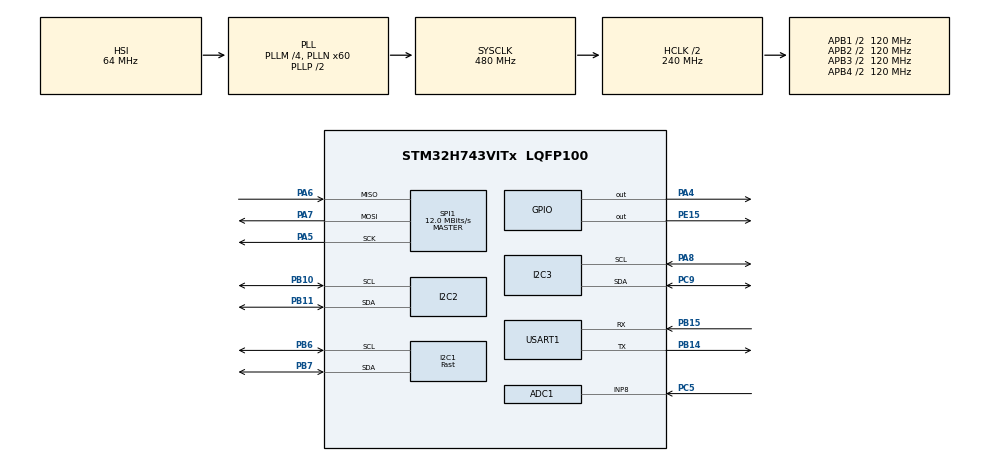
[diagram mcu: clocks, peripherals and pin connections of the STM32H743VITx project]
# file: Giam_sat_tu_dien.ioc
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ADC1.Channel-3\#ChannelRegularConversion=ADC_CHANNEL_8
ADC1.ContinuousConvMode=ENABLE
ADC1.ConversionDataManagement=ADC_CONVERSIONDATA_DMA_CIRCULAR
ADC1.NbrOfConversion=1
ADC1.NbrOfConversionFlag=1
ADC1.OffsetNumber-3\#ChannelRegularConversion=ADC_OFFSET_NONE
ADC1.OffsetSignedSaturation-3\#ChannelRegularConversion=DISABLE
ADC1.Rank-3\#ChannelRegularConversion=1
ADC1.SamplingTime-3\#ChannelRegularConversion=ADC_SAMPLETIME_1CYCLE_5
ADC1.master=1
CORTEX_M7.default_mode_Activation=1
Dma.ADC1.0.Direction=DMA_PERIPH_TO_MEMORY
Dma.ADC1.0.EventEnable=DISABLE
Dma.ADC1.0.FIFOMode=DMA_FIFOMODE_DISABLE
Dma.ADC1.0.Instance=DMA1_Stream0
Dma.ADC1.0.MemDataAlignment=DMA_MDATAALIGN_HALFWORD
Dma.ADC1.0.MemInc=DMA_MINC_ENABLE
Dma.ADC1.0.Mode=DMA_NORMAL
Dma.ADC1.0.PeriphDataAlignment=DMA_PDATAALIGN_HALFWORD
Dma.ADC1.0.PeriphInc=DMA_PINC_DISABLE
Dma.ADC1.0.Polarity=HAL_DMAMUX_REQ_GEN_RISING
Dma.ADC1.0.Priority=DMA_PRIORITY_LOW
Dma.ADC1.0.RequestNumber=1
Dma.ADC1.0.SignalID=NONE
Dma.ADC1.0.SyncEnable=DISABLE
Dma.ADC1.0.SyncPolarity=HAL_DMAMUX_SYNC_NO_EVENT
Dma.ADC1.0.SyncRequestNumber=1
Dma.ADC1.0.SyncSignalID=NONE
Dma.Request0=ADC1
I2C1.I2C_Speed_Mode=I2C_Fast
I2C1.Timing=0x00B03FDB
I2C2.Timing=0x307075B1
I2C3.Timing=0x307075B1
Mcu.Family=STM32H7
Mcu.Name=STM32H743VITx
Mcu.Package=LQFP100
NVIC.DMA1_Stream0_IRQn=true\:0\:0\:false\:false\:true\:false\:true\:true
NVIC.PriorityGroup=NVIC_PRIORITYGROUP_4
PA13\ (JTMS/SWDIO).Mode=Serial_Wire
PA13\ (JTMS/SWDIO).Signal=DEBUG_JTMS-SWDIO
PA14\ (JTCK/SWCLK).Mode=Serial_Wire
PA14\ (JTCK/SWCLK).Signal=DEBUG_JTCK-SWCLK
PA4.Signal=GPIO_Output
PA5.Mode=Full_Duplex_Master
PA5.Signal=SPI1_SCK
PA6.Mode=Full_Duplex_Master
PA6.Signal=SPI1_MISO
PA7.Mode=Full_Duplex_Master
PA7.Signal=SPI1_MOSI
PA8.Mode=I2C
PA8.Signal=I2C3_SCL
PB10.Mode=I2C
PB10.Signal=I2C2_SCL
PB11.Mode=I2C
PB11.Signal=I2C2_SDA
PB14.Mode=Asynchronous
PB14.Signal=USART1_TX
PB15.Mode=Asynchronous
PB15.Signal=USART1_RX
PB6.Mode=I2C
PB6.Signal=I2C1_SCL
PB7.Mode=I2C
PB7.Signal=I2C1_SDA
PC5.Signal=ADCx_INP8
PC9.Mode=I2C
PC9.Signal=I2C3_SDA
PE15.Signal=GPIO_Output
PH0-OSC_IN\ (PH0).Mode=HSE-External-Oscillator
PH0-OSC_IN\ (PH0).Signal=RCC_OSC_IN
PH1-OSC_OUT\ (PH1).Mode=HSE-External-Oscillator
PH1-OSC_OUT\ (PH1).Signal=RCC_OSC_OUT
ProjectManager.HeapSize=0x200
ProjectManager.StackSize=0x400
ProjectManager.TargetToolchain=STM32CubeIDE
RCC.ADCFreq_Value=80000000
RCC.APB1Freq_Value=120000000
RCC.APB2Freq_Value=120000000
RCC.APB3Freq_Value=120000000
RCC.APB4Freq_Value=120000000
RCC.CortexFreq_Value=480000000
RCC.D1PPRE=RCC_APB3_DIV2
RCC.D2PPRE1=RCC_APB1_DIV2
RCC.D2PPRE2=RCC_APB2_DIV2
RCC.D3PPRE=RCC_APB4_DIV2
RCC.DIVM1=4
RCC.DIVM2=4
RCC.DIVN1=60
RCC.DIVN2=10
RCC.DIVQ1=5
RCC.HCLKFreq_Value=240000000
RCC.HPRE=RCC_HCLK_DIV2
RCC.PLL2FRACN=0
RCC.PLL3FRACN=0
RCC.PLLFRACN=0
RCC.SYSCLKFreq_VALUE=480000000
RCC.SYSCLKSource=RCC_SYSCLKSOURCE_PLLCLK
RCC.USBFreq_Value=192000000
SH.ADCx_INP8.0=ADC1_INP8,IN8-Single-Ended
SPI1.BaudRatePrescaler=SPI_BAUDRATEPRESCALER_16
SPI1.CalculateBaudRate=12.0 MBits/s
SPI1.DataSize=SPI_DATASIZE_8BIT
SPI1.Direction=SPI_DIRECTION_2LINES
SPI1.Mode=SPI_MODE_MASTER
SPI1.VirtualType=VM_MASTER
USART1.VirtualMode-Asynchronous=VM_ASYNC
VP_MEMORYMAP_VS_MEMORYMAP.Mode=CurAppReg
board=custom

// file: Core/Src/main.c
/* USER CODE BEGIN Header */
/**
  ******************************************************************************
  * @file           : main.c
  * @brief          : Main program body
  ******************************************************************************
  * @attention
  *
  * Copyright (c) 2026 STMicroelectronics.
  * All rights reserved.
  *
  * This software is licensed under terms that can be found in the LICENSE file
  * in the root directory of this software component.
  * If no LICENSE file comes with this software, it is provided AS-IS.
  *
  ******************************************************************************
  */
/* USER CODE END Header */
#include "main.h"

/* USER CODE BEGIN Includes */
#include "sensors/SHT30.h"
#include "sensors/MLX90640/MLX90640_API.h"
#include "sensors/MLX90640/MLX90640_I2C_Driver.h"
#include "OLED/fonts.h"
#include "OLED/SH1106.h"
#include "Ethernet/W5500_MQTT.h"
#include "MQTTClient.h"
#include "arm_math.h"
#include "stdlib.h"
/* USER CODE END Includes */

/* USER CODE BEGIN PD */
#define MLX90640_ADDR 0x33
#define BUFFER_SIZE 1024
#define FFT_SAMPLES 512 // Bằng đúng một nửa BUFFER_SIZE (do dùng Half-Transfer)

#define SHT30_SOCKET 		0
#define MLX90640_SOCKET   	1
#define SHT30_TOKEN   		"SHT30"
#define MLX90640_TOKEN   	"MLX90640"
/* USER CODE END PD */

ADC_HandleTypeDef hadc1;
DMA_HandleTypeDef hdma_adc1;

I2C_HandleTypeDef hi2c1;
I2C_HandleTypeDef hi2c2;
I2C_HandleTypeDef hi2c3;

SPI_HandleTypeDef hspi1;

UART_HandleTypeDef huart1;

/* USER CODE BEGIN PV */
uint8_t dp = 0;

uint16_t eeMLX90640[832];       // Mảng chứa dữ liệu EEPROM
uint16_t frame[834];            // Mảng chứa dữ liệu thô của 1 khung hình
float MLX90640To[768];          // Mảng chứa nhiệt độ (độ C) của 32x24 pixels
paramsMLX90640 mlx90640Params;	// Chứa tham số calib
char txBuff[6000];

__attribute__((aligned(32))) uint16_t adc_buffer[BUFFER_SIZE];
float dc_offset = 2048.0f;
uint32_t spark_count = 0;

// ----- CÁC BIẾN CHO FFT -----
arm_rfft_fast_instance_f32 fft_handler; // Biến cấu hình bộ FFT
float32_t fft_input[FFT_SAMPLES];       // Mảng chứa tín hiệu âm thanh đầu vào (số thực)
float32_t fft_output[FFT_SAMPLES];      // Mảng chứa đầu ra của FFT (dạng số phức: thực/ảo xen kẽ)
float32_t fft_mag[FFT_SAMPLES / 2];     // Mảng chứa năng lượng (Magnitude) của 256 dải tần

volatile float32_t current_spark_energy = 0.0f; // Biến toàn cục để xem trên Live Expressions

Network network;
MQTTClient client;
uint8_t sendbuf[6000], readbuf[512];
uint8_t mac_addr[] = {0x00, 0x08, 0xdc, 0x11, 0x22, 0x33};

uint8_t broker_ip[4] = {0, 0, 0, 0};

Network net_sht30, net_mlx;
MQTTClient client_sht30, client_mlx;
// Buffer cho SHT30
unsigned char sendbuf_sht30[256], readbuf_sht30[256];
// Buffer cho MLX90640
unsigned char sendbuf_mlx[6500], readbuf_mlx[256];

uint8_t is_dns_resolved = 0;
uint8_t sht30_connected = 0;
uint8_t mlx_connected = 0;
/* USER CODE END PV */

void SystemClock_Config(void);
static void MPU_Config(void);
static void MX_GPIO_Init(void);
static void MX_DMA_Init(void);
static void MX_ADC1_Init(void);
static void MX_I2C1_Init(void);
static void MX_I2C2_Init(void);
static void MX_I2C3_Init(void);
static void MX_SPI1_Init(void);
static void MX_USART1_UART_Init(void);
/* USER CODE BEGIN PFP */
void MLX90640_Setup(void);
void MLX90640_Process(void);
void SHT30_Process(void);
/* USER CODE END PFP */

/* USER CODE BEGIN 0 */
uint8_t Connect_ThingsBoard(uint8_t sock_num, Network* net, MQTTClient* client, char* token, char* client_id)
{
    static uint16_t local_port = 30000;
    local_port++;
    if (local_port > 60000) local_port = 30000;

    disconnect(sock_num);
    close(sock_num);
    socket(sock_num, Sn_MR_TCP, local_port, 0);

    if (connect(sock_num, broker_ip, 1883) == SOCK_OK)
    {
        uint32_t tcp_timeout = HAL_GetTick();
        uint8_t tcp_ok = 0;
        // Đợi TCP Established
        while (HAL_GetTick() - tcp_timeout < 500)
        {
            if (getSn_SR(sock_num) == SOCK_ESTABLISHED) { tcp_ok = 1; break; }
            if (getSn_SR(sock_num) == SOCK_CLOSED) break;
            HAL_Delay(5);
        }

        if (tcp_ok == 1)
        {
            MQTTPacket_connectData data = MQTTPacket_connectData_initializer;
            data.MQTTVersion = 3;
            data.clientID.cstring = client_id;
            data.username.cstring = token;
            data.password.cstring = NULL;

            if (MQTTConnect(client, &data) == MQTT_SUCCESS)
            {
                return 1; // Kết nối thành công
            }
        }
    }
    close(sock_num);
    return 0; // Kết nối thất bại
}

void SHT30_Process(void)
{
	SH1106_GotoXY(10,5);
	SH1106_Puts("Moi truong:", &Font_11x18,1);

	SHT30_Read(&temperature, &humidity);
	SH1106_GotoXY(10, 25);
	SH1106_Puts("Nhiet do: ", &Font_7x10, 1);
	SH1106_GotoXY(77, 25);
	sprintf(bufftemp, "%.2f", temperature);
	SH1106_Puts(bufftemp, &Font_7x10, 1);
	SH1106_GotoXY(10, 35);
	SH1106_Puts("Do am: ", &Font_7x10, 1);
	sprintf(buffhumid, "%.2f", humidity);
	SH1106_GotoXY(59, 35);
	SH1106_Puts(buffhumid, &Font_7x10, 1);
	float dew_point = SHT30_CalcDewPoint(temperature, humidity);
	float safety_margin = 3.0f; // Ngưỡng an toàn 3 độ C

	// Nếu nhiệt độ vỏ tủ tiến quá gần đến mức tạo sương
	if (temperature <= (dew_point + safety_margin))
	{
		dp = 1;
		SH1106_GotoXY(10, 30);
		SH1106_Puts("Canh bao:", &Font_7x10, 1);
		SH1106_GotoXY(10, 45);
		SH1106_Puts("Gan dat nguong diem suong", &Font_7x10, 1);
		HAL_Delay(15000);
	}

	SH1106_UpdateScreen();

	if (sht30_connected == 1)
	{
		char json_payload[100];
		sprintf(json_payload, "{\"temperature\":%.2f, \"humidity\":%.2f, \"dp\":%d}", temperature, humidity, dp);

		MQTTMessage pub_msg;
		memset(&pub_msg, 0, sizeof(pub_msg));
		pub_msg.qos = QOS0;
		pub_msg.payload = json_payload;
		pub_msg.payloadlen = strlen(json_payload);

		MQTTPublish(&client_sht30, "v1/devices/me/telemetry", &pub_msg);
	}
}

void MLX90640_Setup(void)
{
    int status;
    char buffer[80];

    MLX90640_SetChessMode(MLX90640_ADDR);
    // Thiết lập tốc độ làm tươi (Refresh Rate). Ví dụ: 0x03 = 4Hz, 0x04 = 8Hz
    MLX90640_SetRefreshRate(MLX90640_ADDR, 0x04);

    // Đọc toàn bộ bộ nhớ EEPROM của cảm biến.
    // Thử lại vài lần: nếu lỗi -3..-6 lặp lại y hệt ở mọi lần đọc -> rất có thể
    // là dữ liệu hiệu chuẩn gốc của cảm biến, không phải do nhiễu I2C.
    int retry;
    for (retry = 0; retry < 3; retry++)
    {
        status = MLX90640_DumpEE(MLX90640_ADDR, eeMLX90640);
        if (status == 0) break;

        sprintf(buffer, "Loi doc EEPROM (lan %d/3): %d\r\n", retry + 1, status);
        HAL_UART_Transmit(&huart1, (uint8_t*)buffer, strlen(buffer), 50);
        HAL_Delay(10);
    }

    char debugMsg[100];
    sprintf(debugMsg, "EEPROM[0]=0x%04X | EEPROM[1]=0x%04X\r\n", eeMLX90640[0], eeMLX90640[1]);
    HAL_UART_Transmit(&huart1, (uint8_t*)debugMsg, strlen(debugMsg), 100);

    if (status != 0)
    {
        // -1/-2: lỗi I2C thật sự (NACK/timeout) -> không có dữ liệu hợp lệ, dừng hẳn
        // thay vì chạy tiếp với mảng eeMLX90640 rỗng/rác.
        sprintf(buffer, "Loi doc EEPROM sau 3 lan, dung lai!\r\n");
        HAL_UART_Transmit(&huart1, (uint8_t*)buffer, strlen(buffer), 50);
        while (1) { HAL_Delay(500); }
    }

    // Trích xuất các hệ số hiệu chuẩn vào struct
    status = MLX90640_ExtractParameters(eeMLX90640, &mlx90640Params);
    if (status != 0)
    {
        // -3 (>4 broken pixel), -4 (>4 outlier), -5 (tong > 4), -6 (2 pixel loi ke nhau):
        // đây chỉ là CẢNH BÁO về vài pixel trong EEPROM, các hệ số hiệu chuẩn khác
        // (Vdd, Ta, Gain, Offset, Alpha...) vẫn được tính đầy đủ phía trên hàm này.
        // KHÔNG dừng chương trình vì lỗi này - nếu dừng, sẽ không bao giờ có ảnh.
        sprintf(buffer, "Canh bao trich xuat (khong chan chuong trinh): %d\r\n", status);
        HAL_UART_Transmit(&huart1, (uint8_t*)buffer, strlen(buffer), 50);
    }
}

// Đọc khung hình và gửi qua UART
void MLX90640_Process(void)
{
    int subpage;
    float ta, tr, vdd;
    float emissivity = 0.95; // Hệ số phát xạ

    // Đọc dữ liệu thô từ cảm biến
    subpage = MLX90640_GetFrameData(MLX90640_ADDR, frame);
    // DEBUG TẠM THỜI: in subpage ở MỌI lần gọi (kể cả khi hợp lệ) để biết
    // vòng lặp có đang chạy hay bị "treo" bên trong MLX90640_GetFrameData().
    // Xóa khối này sau khi xác định được nguyên nhân.

        char dbg[32];
        int n = sprintf(dbg, "[Frame] subpage=%d\r\n", subpage);
        HAL_UART_Transmit(&huart1, (uint8_t*)dbg, n, 50);

    if (subpage < 0) {
        char errBuf[50];
        sprintf(errBuf, "Loi Frame: %d\r\n", subpage);
        HAL_UART_Transmit(&huart1, (uint8_t*)errBuf, strlen(errBuf), 100);
    }
    if (subpage >= 0)
    { // Đọc thành công
    	vdd = MLX90640_GetVdd(frame, &mlx90640Params);
    	ta = MLX90640_GetTa(frame, &mlx90640Params);
    	tr = ta - 8.0f;
        // Tính toán ra nhiệt độ tuyệt đối (To)
        MLX90640_CalculateTo(frame, &mlx90640Params, emissivity, tr, MLX90640To);

        if (subpage == 1)
        {
        	int offset = 0;
        	// ThingsBoard yêu cầu chuẩn JSON. Bạn nên bọc mảng của bạn lại như sau:
        	offset += sprintf(txBuff + offset, "{\"thermal_pixels\": \"\n");

        	for (int i = 0; i < 768; i++)
        	{
        		offset += sprintf(txBuff + offset, "%5.2f ", MLX90640To[i]);
        		if ((i + 1) % 32 == 0)
        		{
        			offset += sprintf(txBuff + offset, "\n");
        		}
        	}
        	offset += sprintf(txBuff + offset, "\"}"); // Đóng ngoặc JSON

        	HAL_UART_Transmit(&huart1, (uint8_t*)txBuff, offset, HAL_MAX_DELAY);

        	// Đẩy dữ liệu ảnh nhiệt lên mạng
        	if (mlx_connected == 1)
        	{
        		MQTTMessage pub_msg;
        		memset(&pub_msg, 0, sizeof(pub_msg));
        		pub_msg.qos = QOS0;
        		pub_msg.payload = txBuff;
        		pub_msg.payloadlen = offset;

        		MQTTPublish(&client_mlx, "v1/devices/me/telemetry", &pub_msg);
        	}
        }
    }
}
/* USER CODE END 0 */

int main(void)
{

  /* MPU Configuration--------------------------------------------------------*/
  MPU_Config();

  /* MCU Configuration--------------------------------------------------------*/

  /* Reset of all peripherals, Initializes the Flash interface and the Systick. */
  HAL_Init();

  /* Configure the system clock */
  SystemClock_Config();

  /* Initialize all configured peripherals */
  MX_GPIO_Init();
  MX_DMA_Init();
  MX_ADC1_Init();
  MX_I2C1_Init();
  MX_I2C2_Init();
  MX_I2C3_Init();
  MX_SPI1_Init();
  MX_USART1_UART_Init();
  /* USER CODE BEGIN 2 */
  HAL_Delay(10);
  SH1106_Init();
  SH1106_Clear();
  SH1106_UpdateScreen();

  uint32_t last_sht30_time = 0;
  uint32_t last_mlx_time = 0;
  uint32_t last_network_time = 0;
  uint32_t last_mqtt_ping_time = 0;

  W5500_Hardware_Init();

  uint32_t last_dhcp_log = 0; // tránh spam log DHCP quá nhanh

  W5500_DHCP_Init(mac_addr);
  NetworkInit(&net_sht30, SHT30_SOCKET);
  NetworkInit(&net_mlx, MLX90640_SOCKET);
  MQTTClientInit(&client_sht30, &net_sht30, 8000, sendbuf_sht30, sizeof(sendbuf_sht30), readbuf_sht30, sizeof(readbuf_sht30));
//  MLX90640_Setup();
  /* USER CODE END 2 */

  /* Infinite loop */
  /* USER CODE BEGIN WHILE */
  while (1)
  {
	  uint8_t has_ip = W5500_DHCP_Run();

	  if (HAL_GetTick() - last_sht30_time >= 1000)
	  {
		  last_sht30_time = HAL_GetTick();
		  SHT30_Process();
	  }

//	  if (HAL_GetTick() - last_mlx_time >= 10)
//	  {
//		  last_mlx_time = HAL_GetTick();
//		  MLX90640_Process();
//	  }

	  if (HAL_GetTick() - last_network_time >= 2000)
	  {
		  last_network_time = HAL_GetTick();

		  if (has_ip == 1) // Đã lấy được IP từ DHCP
		  {
			  if (is_dns_resolved == 0)
			  {
				  if (W5500_DNS_Resolve("eu.thingsboard.cloud", broker_ip) == 1)
				  {
					  is_dns_resolved = 1;
				  }
			  }

			  if (is_dns_resolved == 1 && sht30_connected == 0)
			  {
				  sht30_connected = Connect_ThingsBoard(SHT30_SOCKET, &net_sht30, &client_sht30, SHT30_TOKEN, "SHT30_Sensor");
			  }
		  }
		  else
		  {
			  is_dns_resolved = 0;
			  sht30_connected = 0;
		  }
	  }

	  if (sht30_connected == 1)
	  {
		  if (HAL_GetTick() - last_mqtt_ping_time >= 100)
		  {
			  last_mqtt_ping_time = HAL_GetTick();

			  // MQTTYield cần được gọi liên tục để duy trì mạng và nhận dữ liệu
			  if (MQTTYield(&client_sht30, 10) != MQTT_SUCCESS)
			  {
				  sht30_connected = 0; // Đánh dấu rớt mạng
			  }
		  }
	  }
    /* USER CODE END WHILE */

  }
}

void SystemClock_Config(void)
{
  RCC_OscInitTypeDef RCC_OscInitStruct = {0};
  RCC_ClkInitTypeDef RCC_ClkInitStruct = {0};

  /** Supply configuration update enable
  */
  HAL_PWREx_ConfigSupply(PWR_LDO_SUPPLY);

  /** Configure the main internal regulator output voltage
  */
  __HAL_PWR_VOLTAGESCALING_CONFIG(PWR_REGULATOR_VOLTAGE_SCALE0);

  while(!__HAL_PWR_GET_FLAG(PWR_FLAG_VOSRDY)) {}

  /** Initializes the RCC Oscillators according to the specified parameters
  * in the RCC_OscInitTypeDef structure.
  */
  RCC_OscInitStruct.OscillatorType = RCC_OSCILLATORTYPE_HSI;
  RCC_OscInitStruct.HSIState = RCC_HSI_DIV1;
  RCC_OscInitStruct.HSICalibrationValue = RCC_HSICALIBRATION_DEFAULT;
  RCC_OscInitStruct.PLL.PLLState = RCC_PLL_ON;
  RCC_OscInitStruct.PLL.PLLSource = RCC_PLLSOURCE_HSI;
  RCC_OscInitStruct.PLL.PLLM = 4;
  RCC_OscInitStruct.PLL.PLLN = 60;
  RCC_OscInitStruct.PLL.PLLP = 2;
  RCC_OscInitStruct.PLL.PLLQ = 5;
  RCC_OscInitStruct.PLL.PLLR = 2;
  RCC_OscInitStruct.PLL.PLLRGE = RCC_PLL1VCIRANGE_3;
  RCC_OscInitStruct.PLL.PLLVCOSEL = RCC_PLL1VCOWIDE;
  RCC_OscInitStruct.PLL.PLLFRACN = 0;
  if (HAL_RCC_OscConfig(&RCC_OscInitStruct) != HAL_OK)
  {
    Error_Handler();
  }

  /** Initializes the CPU, AHB and APB buses clocks
  */
  RCC_ClkInitStruct.ClockType = RCC_CLOCKTYPE_HCLK|RCC_CLOCKTYPE_SYSCLK
                              |RCC_CLOCKTYPE_PCLK1|RCC_CLOCKTYPE_PCLK2
                              |RCC_CLOCKTYPE_D3PCLK1|RCC_CLOCKTYPE_D1PCLK1;
  RCC_ClkInitStruct.SYSCLKSource = RCC_SYSCLKSOURCE_PLLCLK;
  RCC_ClkInitStruct.SYSCLKDivider = RCC_SYSCLK_DIV1;
  RCC_ClkInitStruct.AHBCLKDivider = RCC_HCLK_DIV2;
  RCC_ClkInitStruct.APB3CLKDivider = RCC_APB3_DIV2;
  RCC_ClkInitStruct.APB1CLKDivider = RCC_APB1_DIV2;
  RCC_ClkInitStruct.APB2CLKDivider = RCC_APB2_DIV2;
  RCC_ClkInitStruct.APB4CLKDivider = RCC_APB4_DIV2;

  if (HAL_RCC_ClockConfig(&RCC_ClkInitStruct, FLASH_LATENCY_4) != HAL_OK)
  {
    Error_Handler();
  }
}

static void MX_ADC1_Init(void)
{

  ADC_MultiModeTypeDef multimode = {0};
  ADC_ChannelConfTypeDef sConfig = {0};

  /** Common config
  */
  hadc1.Instance = ADC1;
  hadc1.Init.ClockPrescaler = ADC_CLOCK_ASYNC_DIV1;
  hadc1.Init.Resolution = ADC_RESOLUTION_16B;
  hadc1.Init.ScanConvMode = ADC_SCAN_DISABLE;
  hadc1.Init.EOCSelection = ADC_EOC_SINGLE_CONV;
  hadc1.Init.LowPowerAutoWait = DISABLE;
  hadc1.Init.ContinuousConvMode = ENABLE;
  hadc1.Init.NbrOfConversion = 1;
  hadc1.Init.DiscontinuousConvMode = DISABLE;
  hadc1.Init.ExternalTrigConv = ADC_SOFTWARE_START;
  hadc1.Init.ExternalTrigConvEdge = ADC_EXTERNALTRIGCONVEDGE_NONE;
  hadc1.Init.ConversionDataManagement = ADC_CONVERSIONDATA_DMA_CIRCULAR;
  hadc1.Init.Overrun = ADC_OVR_DATA_PRESERVED;
  hadc1.Init.LeftBitShift = ADC_LEFTBITSHIFT_NONE;
  hadc1.Init.OversamplingMode = DISABLE;
  hadc1.Init.Oversampling.Ratio = 1;
  if (HAL_ADC_Init(&hadc1) != HAL_OK)
  {
    Error_Handler();
  }

  /** Configure the ADC multi-mode
  */
  multimode.Mode = ADC_MODE_INDEPENDENT;
  if (HAL_ADCEx_MultiModeConfigChannel(&hadc1, &multimode) != HAL_OK)
  {
    Error_Handler();
  }

  /** Configure Regular Channel
  */
  sConfig.Channel = ADC_CHANNEL_8;
  sConfig.Rank = ADC_REGULAR_RANK_1;
  sConfig.SamplingTime = ADC_SAMPLETIME_1CYCLE_5;
  sConfig.SingleDiff = ADC_SINGLE_ENDED;
  sConfig.OffsetNumber = ADC_OFFSET_NONE;
  sConfig.Offset = 0;
  sConfig.OffsetSignedSaturation = DISABLE;
  if (HAL_ADC_ConfigChannel(&hadc1, &sConfig) != HAL_OK)
  {
    Error_Handler();
  }

}

static void MX_I2C1_Init(void)
{

  hi2c1.Instance = I2C1;
  hi2c1.Init.Timing = 0x00B03FDB;
  hi2c1.Init.OwnAddress1 = 0;
  hi2c1.Init.AddressingMode = I2C_ADDRESSINGMODE_7BIT;
  hi2c1.Init.DualAddressMode = I2C_DUALADDRESS_DISABLE;
  hi2c1.Init.OwnAddress2 = 0;
  hi2c1.Init.OwnAddress2Masks = I2C_OA2_NOMASK;
  hi2c1.Init.GeneralCallMode = I2C_GENERALCALL_DISABLE;
  hi2c1.Init.NoStretchMode = I2C_NOSTRETCH_DISABLE;
  if (HAL_I2C_Init(&hi2c1) != HAL_OK)
  {
    Error_Handler();
  }

  /** Configure Analogue filter
  */
  if (HAL_I2CEx_ConfigAnalogFilter(&hi2c1, I2C_ANALOGFILTER_ENABLE) != HAL_OK)
  {
    Error_Handler();
  }

  /** Configure Digital filter
  */
  if (HAL_I2CEx_ConfigDigitalFilter(&hi2c1, 0) != HAL_OK)
  {
    Error_Handler();
  }

}

static void MX_I2C2_Init(void)
{

  hi2c2.Instance = I2C2;
  hi2c2.Init.Timing = 0x307075B1;
  hi2c2.Init.OwnAddress1 = 0;
  hi2c2.Init.AddressingMode = I2C_ADDRESSINGMODE_7BIT;
  hi2c2.Init.DualAddressMode = I2C_DUALADDRESS_DISABLE;
  hi2c2.Init.OwnAddress2 = 0;
  hi2c2.Init.OwnAddress2Masks = I2C_OA2_NOMASK;
  hi2c2.Init.GeneralCallMode = I2C_GENERALCALL_DISABLE;
  hi2c2.Init.NoStretchMode = I2C_NOSTRETCH_DISABLE;
  if (HAL_I2C_Init(&hi2c2) != HAL_OK)
  {
    Error_Handler();
  }

  /** Configure Analogue filter
  */
  if (HAL_I2CEx_ConfigAnalogFilter(&hi2c2, I2C_ANALOGFILTER_ENABLE) != HAL_OK)
  {
    Error_Handler();
  }

  /** Configure Digital filter
  */
  if (HAL_I2CEx_ConfigDigitalFilter(&hi2c2, 0) != HAL_OK)
  {
    Error_Handler();
  }

}

static void MX_I2C3_Init(void)
{

  hi2c3.Instance = I2C3;
  hi2c3.Init.Timing = 0x307075B1;
  hi2c3.Init.OwnAddress1 = 0;
  hi2c3.Init.AddressingMode = I2C_ADDRESSINGMODE_7BIT;
  hi2c3.Init.DualAddressMode = I2C_DUALADDRESS_DISABLE;
  hi2c3.Init.OwnAddress2 = 0;
  hi2c3.Init.OwnAddress2Masks = I2C_OA2_NOMASK;
  hi2c3.Init.GeneralCallMode = I2C_GENERALCALL_DISABLE;
  hi2c3.Init.NoStretchMode = I2C_NOSTRETCH_DISABLE;
  if (HAL_I2C_Init(&hi2c3) != HAL_OK)
  {
    Error_Handler();
  }

  /** Configure Analogue filter
  */
  if (HAL_I2CEx_ConfigAnalogFilter(&hi2c3, I2C_ANALOGFILTER_ENABLE) != HAL_OK)
  {
    Error_Handler();
  }

  /** Configure Digital filter
  */
  if (HAL_I2CEx_ConfigDigitalFilter(&hi2c3, 0) != HAL_OK)
  {
    Error_Handler();
  }

}

static void MX_SPI1_Init(void)
{

  /* SPI1 parameter configuration*/
  hspi1.Instance = SPI1;
  hspi1.Init.Mode = SPI_MODE_MASTER;
  hspi1.Init.Direction = SPI_DIRECTION_2LINES;
  hspi1.Init.DataSize = SPI_DATASIZE_8BIT;
  hspi1.Init.CLKPolarity = SPI_POLARITY_LOW;
  hspi1.Init.CLKPhase = SPI_PHASE_1EDGE;
  hspi1.Init.NSS = SPI_NSS_SOFT;
  hspi1.Init.BaudRatePrescaler = SPI_BAUDRATEPRESCALER_16;
  hspi1.Init.FirstBit = SPI_FIRSTBIT_MSB;
  hspi1.Init.TIMode = SPI_TIMODE_DISABLE;
  hspi1.Init.CRCCalculation = SPI_CRCCALCULATION_DISABLE;
  hspi1.Init.CRCPolynomial = 0x0;
  hspi1.Init.NSSPMode = SPI_NSS_PULSE_ENABLE;
  hspi1.Init.NSSPolarity = SPI_NSS_POLARITY_LOW;
  hspi1.Init.FifoThreshold = SPI_FIFO_THRESHOLD_01DATA;
  hspi1.Init.TxCRCInitializationPattern = SPI_CRC_INITIALIZATION_ALL_ZERO_PATTERN;
  hspi1.Init.RxCRCInitializationPattern = SPI_CRC_INITIALIZATION_ALL_ZERO_PATTERN;
  hspi1.Init.MasterSSIdleness = SPI_MASTER_SS_IDLENESS_00CYCLE;
  hspi1.Init.MasterInterDataIdleness = SPI_MASTER_INTERDATA_IDLENESS_00CYCLE;
  hspi1.Init.MasterReceiverAutoSusp = SPI_MASTER_RX_AUTOSUSP_DISABLE;
  hspi1.Init.MasterKeepIOState = SPI_MASTER_KEEP_IO_STATE_DISABLE;
  hspi1.Init.IOSwap = SPI_IO_SWAP_DISABLE;
  if (HAL_SPI_Init(&hspi1) != HAL_OK)
  {
    Error_Handler();
  }

}

static void MX_USART1_UART_Init(void)
{

  huart1.Instance = USART1;
  huart1.Init.BaudRate = 115200;
  huart1.Init.WordLength = UART_WORDLENGTH_8B;
  huart1.Init.StopBits = UART_STOPBITS_1;
  huart1.Init.Parity = UART_PARITY_NONE;
  huart1.Init.Mode = UART_MODE_TX_RX;
  huart1.Init.HwFlowCtl = UART_HWCONTROL_NONE;
  huart1.Init.OverSampling = UART_OVERSAMPLING_16;
  huart1.Init.OneBitSampling = UART_ONE_BIT_SAMPLE_DISABLE;
  huart1.Init.ClockPrescaler = UART_PRESCALER_DIV1;
  huart1.AdvancedInit.AdvFeatureInit = UART_ADVFEATURE_NO_INIT;
  if (HAL_UART_Init(&huart1) != HAL_OK)
  {
    Error_Handler();
  }
  if (HAL_UARTEx_SetTxFifoThreshold(&huart1, UART_TXFIFO_THRESHOLD_1_8) != HAL_OK)
  {
    Error_Handler();
  }
  if (HAL_UARTEx_SetRxFifoThreshold(&huart1, UART_RXFIFO_THRESHOLD_1_8) != HAL_OK)
  {
    Error_Handler();
  }
  if (HAL_UARTEx_DisableFifoMode(&huart1) != HAL_OK)
  {
    Error_Handler();
  }

}

static void MX_DMA_Init(void)
{

  /* DMA controller clock enable */
  __HAL_RCC_DMA1_CLK_ENABLE();

  /* DMA interrupt init */
  /* DMA1_Stream0_IRQn interrupt configuration */
  HAL_NVIC_SetPriority(DMA1_Stream0_IRQn, 0, 0);
  HAL_NVIC_EnableIRQ(DMA1_Stream0_IRQn);

}

static void MX_GPIO_Init(void)
{
  GPIO_InitTypeDef GPIO_InitStruct = {0};

  /* GPIO Ports Clock Enable */
  __HAL_RCC_GPIOH_CLK_ENABLE();
  __HAL_RCC_GPIOA_CLK_ENABLE();
  __HAL_RCC_GPIOC_CLK_ENABLE();
  __HAL_RCC_GPIOE_CLK_ENABLE();
  __HAL_RCC_GPIOB_CLK_ENABLE();

  /*Configure GPIO pin Output Level */
  HAL_GPIO_WritePin(GPIOA, GPIO_PIN_4, GPIO_PIN_RESET);

  /*Configure GPIO pin Output Level */
  HAL_GPIO_WritePin(GPIOE, GPIO_PIN_15, GPIO_PIN_RESET);

  /*Configure GPIO pin : PA4 */
  GPIO_InitStruct.Pin = GPIO_PIN_4;
  GPIO_InitStruct.Mode = GPIO_MODE_OUTPUT_PP;
  GPIO_InitStruct.Pull = GPIO_NOPULL;
  GPIO_InitStruct.Speed = GPIO_SPEED_FREQ_LOW;
  HAL_GPIO_Init(GPIOA, &GPIO_InitStruct);

  /*Configure GPIO pin : PE15 */
  GPIO_InitStruct.Pin = GPIO_PIN_15;
  GPIO_InitStruct.Mode = GPIO_MODE_OUTPUT_PP;
  GPIO_InitStruct.Pull = GPIO_NOPULL;
  GPIO_InitStruct.Speed = GPIO_SPEED_FREQ_LOW;
  HAL_GPIO_Init(GPIOE, &GPIO_InitStruct);

}

 /* MPU Configuration */

void MPU_Config(void)
{
  MPU_Region_InitTypeDef MPU_InitStruct = {0};

  /* Disables the MPU */
  HAL_MPU_Disable();

  /** Initializes and configures the Region and the memory to be protected
  */
  MPU_InitStruct.Enable = MPU_REGION_ENABLE;
  MPU_InitStruct.Number = MPU_REGION_NUMBER0;
  MPU_InitStruct.BaseAddress = 0x0;
  MPU_InitStruct.Size = MPU_REGION_SIZE_4GB;
  MPU_InitStruct.SubRegionDisable = 0x87;
  MPU_InitStruct.TypeExtField = MPU_TEX_LEVEL0;
  MPU_InitStruct.AccessPermission = MPU_REGION_NO_ACCESS;
  MPU_InitStruct.DisableExec = MPU_INSTRUCTION_ACCESS_DISABLE;
  MPU_InitStruct.IsShareable = MPU_ACCESS_SHAREABLE;
  MPU_InitStruct.IsCacheable = MPU_ACCESS_NOT_CACHEABLE;
  MPU_InitStruct.IsBufferable = MPU_ACCESS_NOT_BUFFERABLE;

  HAL_MPU_ConfigRegion(&MPU_InitStruct);
  /* Enables the MPU */
  HAL_MPU_Enable(MPU_PRIVILEGED_DEFAULT);

}

void Error_Handler(void)
{
  __disable_irq();
  while (1)
  {
  }
}
